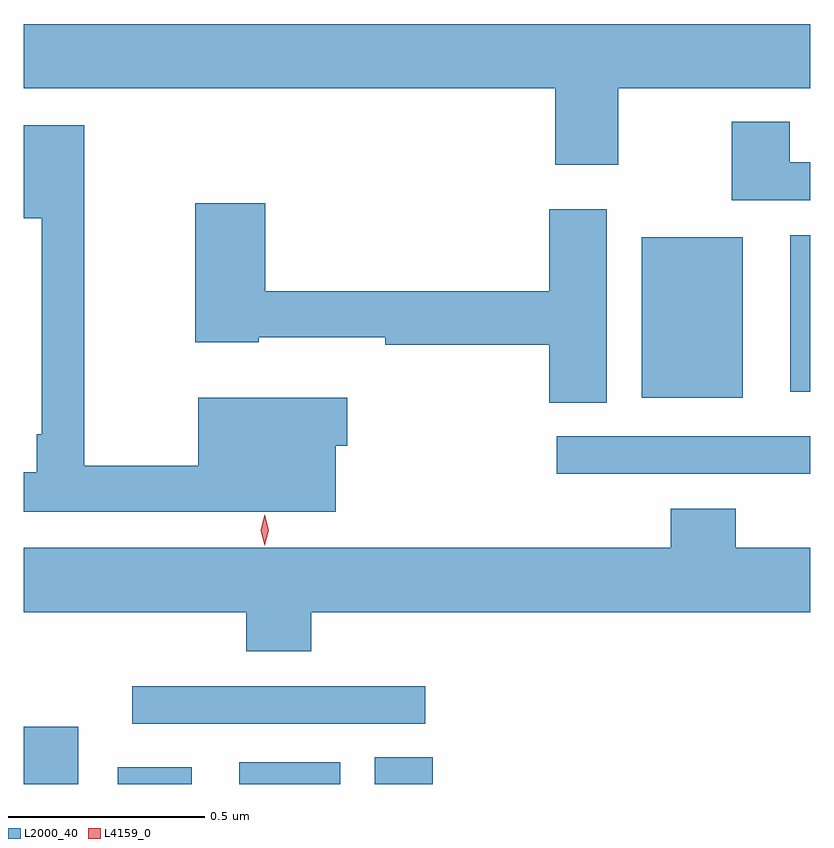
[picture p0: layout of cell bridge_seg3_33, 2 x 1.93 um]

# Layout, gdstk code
import gdstk
lib = gdstk.Library(unit=1e-6, precision=1e-09)
def R(c, l, rs):  # rectangles x0, y0, x1, y1
    for r in rs: c.add(gdstk.rectangle(r[:2], r[2:], *l))
def P(c, l, *ps):  # polygons
    for p in ps: c.add(gdstk.Polygon(p, *l))
L2000_40 = (2000, 40)
L4159_0 = (4159, 0)

bridge_seg3_33 = lib.new_cell('bridge_seg3_33')
R(bridge_seg3_33, L2000_40, [(737.883,709.803,738.022,709.948), (738.122,709.803,738.31,709.846), (738.431,709.803,738.688,709.858), (738.776,709.803,738.923,709.871), (738.159,709.956,738.904,710.052), (739.239,710.592,739.883,710.688), (739.454,710.786,739.711,711.193), (739.832,710.801,739.883,711.199)])
P(bridge_seg3_33, L2000_40, [(739.395,711.572),(739.883,711.572),(739.883,711.736),(737.883,711.736),(737.883,711.572),(739.235,711.572),(739.235,711.378),(739.395,711.378)],
  [(739.883,711.384),(739.831,711.384),(739.831,711.487),(739.684,711.487),(739.684,711.288),(739.883,711.288)],
  [(738.676,710.663),(738.706,710.663),(738.706,710.785),(738.326,710.785),(738.326,710.612),(738.037,710.612),(738.037,711.478),(737.883,711.478),(737.883,711.242),(737.928,711.242),(737.928,710.692),(737.916,710.692),(737.916,710.596),(737.883,710.596),(737.883,710.496),(738.43,710.496),(738.43,710.495),(738.676,710.495)],
  [(739.366,711.265),(739.22,711.265),(739.22,711.056),(738.497,711.056),(738.497,711.28),(738.319,711.28),(738.319,710.927),(738.48,710.927),(738.48,710.939),(738.802,710.939),(738.802,710.92),(739.22,710.92),(739.22,710.773),(739.366,710.773)],
  [(738.614,710.24),(739.883,710.24),(739.883,710.404),(739.694,710.404),(739.694,710.503),(739.529,710.503),(739.529,710.404),(737.883,710.404),(737.883,710.24),(738.449,710.24),(738.449,710.141),(738.614,710.141)])
P(bridge_seg3_33, L4159_0, [(738.496,710.409),(738.496,710.41),(738.486,710.449),(738.496,710.488),(738.496,710.488),(738.496,710.488),(738.506,710.449),(738.496,710.41)])

lib.write_gds('bridge_seg3_33.gds')
